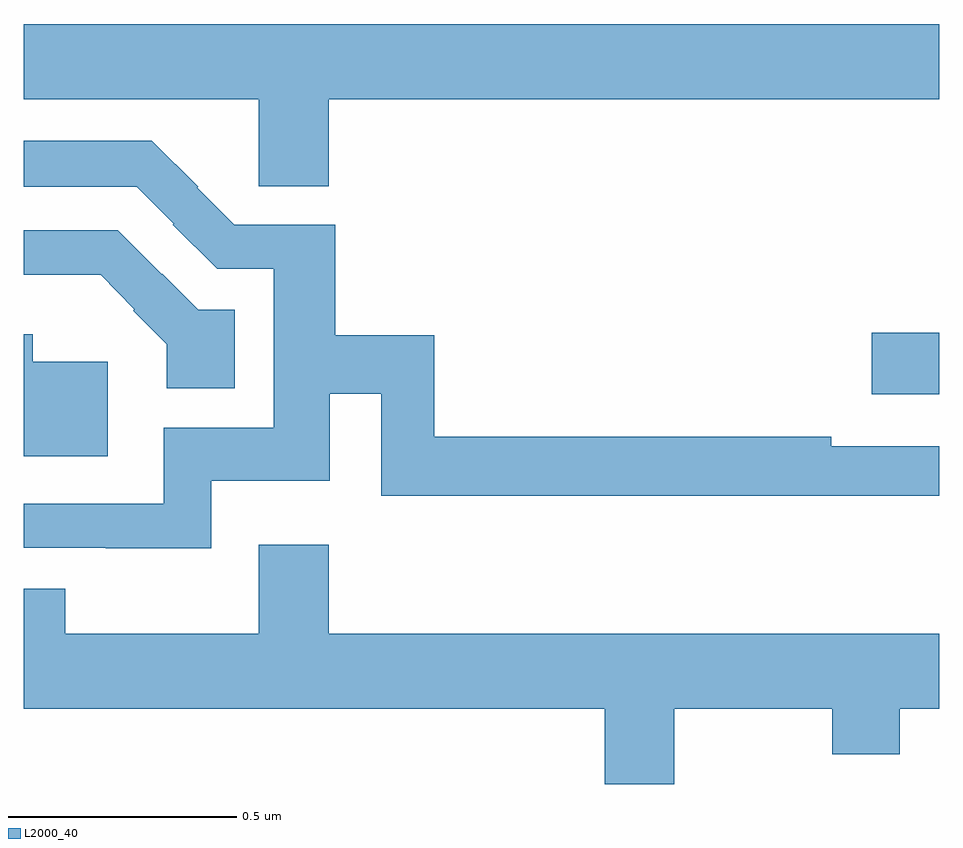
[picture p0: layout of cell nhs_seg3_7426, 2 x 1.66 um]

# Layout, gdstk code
import gdstk
lib = gdstk.Library(unit=1e-6, precision=1e-09)
def R(c, l, rs):  # rectangles x0, y0, x1, y1
    for r in rs: c.add(gdstk.rectangle(r[:2], r[2:], *l))
def P(c, l, *ps):  # polygons
    for p in ps: c.add(gdstk.Polygon(p, *l))
L2000_40 = (2000, 40)

nhs_seg3_7426 = lib.new_cell('nhs_seg3_7426')
R(nhs_seg3_7426, L2000_40, [(204.852,720.251,205,720.386)])
P(nhs_seg3_7426, L2000_40, [(203.666,720.896),(205,720.896),(205,721.06),(203,721.06),(203,720.896),(203.514,720.896),(203.514,720.706),(203.666,720.706)],
  [(203.41,720.062),(203.668,720.062),(203.668,720.252),(203.781,720.252),(203.781,720.03),(205,720.03),(205,720.138),(204.764,720.138),(204.764,720.158),(203.897,720.158),(203.897,720.38),(203.681,720.38),(203.681,720.621),(203.46,720.621),(203.379,720.702),(203.381,720.704),(203.28,720.805),(203,720.805),(203,720.704),(203.144,720.704),(203.144,720.705),(203.247,720.705),(203.328,720.624),(203.326,720.622),(203.423,720.525),(203.546,720.525),(203.546,720.178),(203.306,720.178),(203.306,720.012),(203,720.012),(203,719.916),(203.179,719.916),(203.179,719.915),(203.41,719.915)],
  [(203.461,720.436),(203.381,720.436),(203.303,720.514),(203.302,720.513),(203.206,720.609),(203,720.609),(203,720.512),(203.168,720.512),(203.242,720.437),(203.239,720.434),(203.312,720.361),(203.312,720.264),(203.461,720.264)],
  [(203.184,720.322),(203.02,720.322),(203.02,720.382),(203,720.382),(203,720.116),(203.184,720.116)],
  [(204.421,719.564),(204.766,719.564),(204.766,719.465),(204.913,719.465),(204.913,719.564),(205,719.564),(205,719.728),(203.666,719.728),(203.666,719.923),(203.513,719.923),(203.513,719.728),(203.091,719.728),(203.091,719.827),(203,719.827),(203,719.564),(204.269,719.564),(204.269,719.4),(204.421,719.4)])

lib.write_gds('nhs_seg3_7426.gds')
